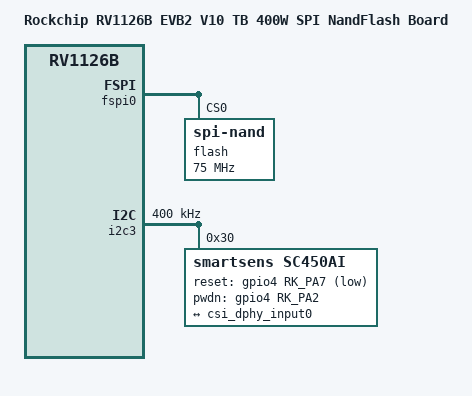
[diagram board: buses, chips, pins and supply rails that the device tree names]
// SPDX-License-Identifier: (GPL-2.0+ OR MIT)
/*
 * Copyright (c) 2025 Rockchip Electronics Co., Ltd.
 */

/dts-v1/;
#include "arm64/rockchip/rv1126b.dtsi"
#include "arm64/rockchip/rv1126b-evb.dtsi"
#include "arm64/rockchip/rv1126b-evb2-v10.dtsi"
#include "rv1126b-thunder-boot-cam.dtsi"
#include "rv1126b-thunder-boot-spi-nand.dtsi"

/ {
	model = "Rockchip RV1126B EVB2 V10 TB 400W SPI NandFlash Board";
	compatible = "rockchip,rv1126b-evb2-v10-tb-400w-spi-nand", "rockchip,rv1126b";

	chosen {
		bootargs = "loglevel=0 initcall_nr_threads=-1 initcall_debug=0 earlycon=uart8250,mmio32,0x20810000 console=ttyFIQ0 root=/dev/rd0 rootfstype=erofs rootflags=dax snd_soc_core.prealloc_buffer_size_kbytes=16 coherent_pool=32K";
	};
};

&fspi0 {
	status = "okay";

	flash@0 {
		compatible = "spi-nand";
		reg = <0>;
		spi-max-frequency = <75000000>;
		spi-rx-bus-width = <4>;
		spi-tx-bus-width = <1>;
	};
};

&i2c3 {
	clock-frequency = <400000>;
	pinctrl-names = "default";
	pinctrl-0 = <&i2c3m1_pins>;
	rockchip,amp-shared;
	status = "okay";

	sc450ai: sc450ai@30 {
		compatible = "smartsens,sc450ai";
		reg = <0x30>;
		clocks = <&cru CLK_MIPI0_OUT2IO>;
		clock-names = "xvclk";
		reset-gpios = <&gpio4 RK_PA7 GPIO_ACTIVE_LOW>;
		pwdn-gpios = <&gpio4 RK_PA2 GPIO_ACTIVE_HIGH>;
		pinctrl-names = "default";
		pinctrl-0 = <&cam_clk0_pins>;
		rockchip,camera-module-index = <0>;
		rockchip,camera-module-facing = "back";
		rockchip,camera-module-name = "default";
		rockchip,camera-module-lens-name = "default";
		port {
			cam0_out: endpoint {
				remote-endpoint = <&csi_dphy_input0>;
				data-lanes = <1 2 3 4>;
			};
		};
	};
};

&ramdisk_r {
	reg = <0x48c40000 (30 * 0x00100000)>;
};

&ramdisk_c {
	reg = <0x4aa40000 (20 * 0x00100000)>;
};

&rkisp_thunderboot {
	/* reg's offset MUST match with RTOS */
	/*
	 * vicap, capture raw10, ceil(w*10/8/256)*256*h *4(buf num)
	 * e.g. 2688x1520: 0x14c8000
	 */
	reg = <0x41320000 0x14c8000>;
};
